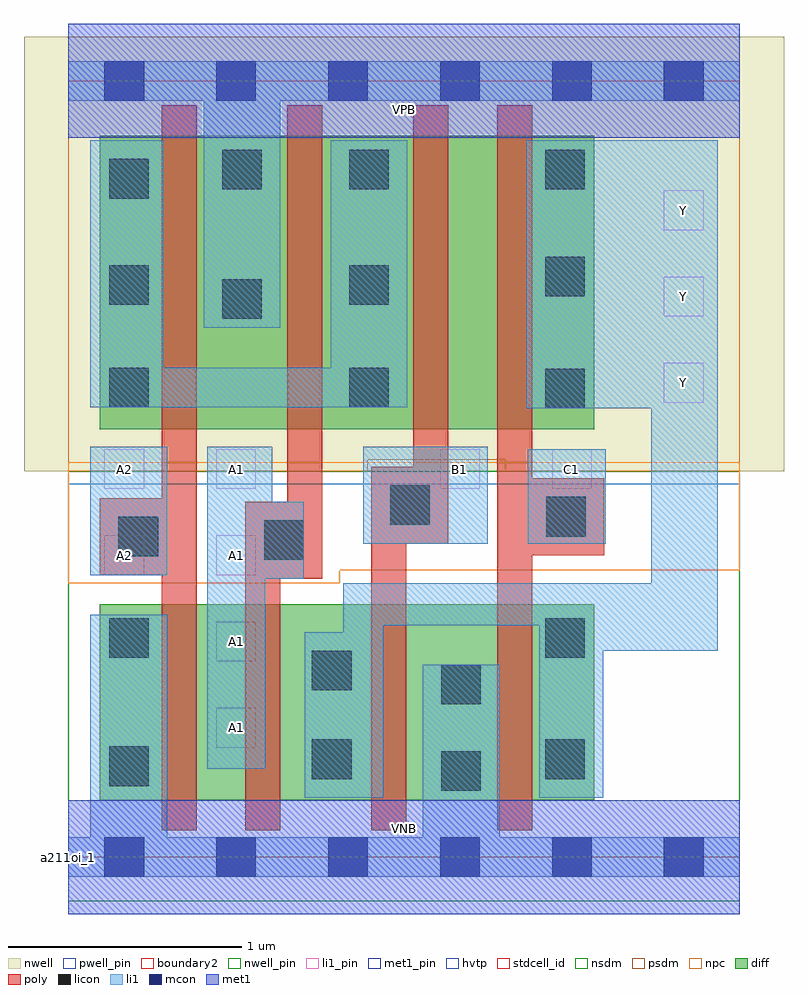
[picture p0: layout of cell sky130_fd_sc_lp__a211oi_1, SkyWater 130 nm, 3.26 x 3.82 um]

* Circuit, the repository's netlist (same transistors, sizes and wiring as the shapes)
* Copyright 2020 The SkyWater PDK Authors
*
* Licensed under the Apache License, Version 2.0 (the "License");
* you may not use this file except in compliance with the License.
* You may obtain a copy of the License at
*
*     https://www.apache.org/licenses/LICENSE-2.0
*
* Unless required by applicable law or agreed to in writing, software
* distributed under the License is distributed on an "AS IS" BASIS,
* WITHOUT WARRANTIES OR CONDITIONS OF ANY KIND, either express or implied.
* See the License for the specific language governing permissions and
* limitations under the License.
*
* SPDX-License-Identifier: Apache-2.0

.SUBCKT sky130_fd_sc_lp__a211oi_1 A1 A2 B1 C1 VGND VNB VPB VPWR Y
*.PININFO A1:I A2:I B1:I C1:I VGND:I VNB:I VPB:I VPWR:I Y:O
MMPA0 pndA A1 VPWR VPB sky130_fd_pr__pfet_01v8_hvt m=1 w=1.26U l=0.15U mult=1 sa=0.265
+ sb=0.265 sd=0.28 area=0.063 perim=1.14
MMPA1 pndA A2 VPWR VPB sky130_fd_pr__pfet_01v8_hvt m=1 w=1.26U l=0.15U mult=1 sa=0.265
+ sb=0.265 sd=0.28 area=0.063 perim=1.14
MMPB0 pndB B1 pndA VPB sky130_fd_pr__pfet_01v8_hvt m=1 w=1.26U l=0.15U mult=1 sa=0.265
+ sb=0.265 sd=0.28 area=0.063 perim=1.14
MMPC0 Y C1 pndB VPB sky130_fd_pr__pfet_01v8_hvt m=1 w=1.26U l=0.15U mult=1 sa=0.265
+ sb=0.265 sd=0.28 area=0.063 perim=1.14
MMNA0 Y A1 sndA1 VNB sky130_fd_pr__nfet_01v8 m=1 w=0.84U l=0.15U mult=1 sa=0.265
+ sb=0.265 sd=0.28 area=0.063 perim=1.14
MMNA1 sndA1 A2 VGND VNB sky130_fd_pr__nfet_01v8 m=1 w=0.84U l=0.15U mult=1 sa=0.265
+ sb=0.265 sd=0.28 area=0.063 perim=1.14
MMNB0 Y B1 VGND VNB sky130_fd_pr__nfet_01v8 m=1 w=0.84U l=0.15U mult=1 sa=0.265
+ sb=0.265 sd=0.28 area=0.063 perim=1.14
MMNC0 Y C1 VGND VNB sky130_fd_pr__nfet_01v8 m=1 w=0.84U l=0.15U mult=1 sa=0.265
+ sb=0.265 sd=0.28 area=0.063 perim=1.14
.ENDS sky130_fd_sc_lp__a211oi_1

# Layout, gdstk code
import gdstk
lib = gdstk.Library(unit=1e-6, precision=1e-09)
def R(c, l, rs):  # rectangles x0, y0, x1, y1
    for r in rs: c.add(gdstk.rectangle(r[:2], r[2:], *l))
def A(c, l, x, y, w, h, nx, ny, dx, dy):  # array of equal rectangles
    R(c, l, [(x+i*dx, y+j*dy, x+i*dx+w, y+j*dy+h) for i in range(nx) for j in range(ny)])
def P(c, l, *ps):  # polygons
    for p in ps: c.add(gdstk.Polygon(p, *l))
nwell_pin = (64, 16)
nwell = (64, 20)
diff = (65, 20)
poly = (66, 20)
licon = (66, 44)
li1_pin = (67, 16)
li1 = (67, 20)
mcon = (67, 44)
met1_pin = (68, 16)
met1 = (68, 20)
hvtp = (78, 44)
stdcell_id = (81, 4)
nsdm = (93, 44)
psdm = (94, 20)
npc = (95, 20)
pwell_pin = (122, 16)
boundary2 = (236, 0)

sky130_fd_sc_lp__a211oi_ = lib.new_cell('sky130_fd_sc_lp__a211oi_1')
R(sky130_fd_sc_lp__a211oi_, nwell_pin, [(0,3.085,2.88,3.33)])
R(sky130_fd_sc_lp__a211oi_, nwell, [(-0.19,1.655,3.07,3.52)])
R(sky130_fd_sc_lp__a211oi_, diff, [(0.135,0.245,2.255,1.085), (0.135,1.835,2.255,3.095)])
P(sky130_fd_sc_lp__a211oi_, poly, [(0.55,3.225),(0.4,3.225),(0.4,1.54),(0.135,1.54),(0.135,1.21),(0.4,1.21),(0.4,0.115),(0.55,0.115)],
  [(1.09,3.225),(0.94,3.225),(0.94,1.525),(0.76,1.525),(0.76,0.115),(0.91,0.115),(0.91,1.195),(1.09,1.195)],
  [(1.63,3.225),(1.48,3.225),(1.48,1.675),(1.3,1.675),(1.3,0.115),(1.45,0.115),(1.45,1.345),(1.63,1.345)],
  [(2.3,1.625),(1.99,1.625),(1.99,3.225),(1.84,3.225),(1.84,0.115),(1.99,0.115),(1.99,1.295),(2.3,1.295)])
R(sky130_fd_sc_lp__a211oi_, licon, [(1.6,0.285,1.77,0.455), (0.175,0.305,0.345,0.475), (1.045,0.335,1.215,0.505), (2.045,0.335,2.215,0.505), (1.6,0.655,1.77,0.825), (1.045,0.715,1.215,0.885), (0.175,0.855,0.345,1.025), (2.045,0.855,2.215,1.025), (0.84,1.275,1.01,1.445), (0.215,1.29,0.385,1.46), (2.05,1.375,2.22,1.545), (1.38,1.425,1.55,1.595), (2.045,1.925,2.215,2.095), (0.175,1.93,0.345,2.1), (1.205,1.93,1.375,2.1), (0.66,2.31,0.83,2.48), (0.175,2.37,0.345,2.54), (1.205,2.37,1.375,2.54), (2.045,2.405,2.215,2.575), (0.175,2.825,0.345,2.995), (0.66,2.865,0.83,3.035), (1.205,2.865,1.375,3.035), (2.045,2.865,2.215,3.035)])
A(sky130_fd_sc_lp__a211oi_, li1_pin, 0.635, 0.47, 0.17, 0.17, 1, 4, 0, 0.37)
A(sky130_fd_sc_lp__a211oi_, li1_pin, 2.555, 1.95, 0.17, 0.17, 1, 3, 0, 0.37)
R(sky130_fd_sc_lp__a211oi_, li1_pin, [(0.155,1.21,0.325,1.38), (0.155,1.58,0.325,1.75), (1.595,1.58,1.765,1.75), (2.075,1.58,2.245,1.75)])
R(sky130_fd_sc_lp__a211oi_, li1, [(0.095,1.21,0.425,1.76), (1.265,1.345,1.8,1.76), (1.97,1.345,2.305,1.75)])
P(sky130_fd_sc_lp__a211oi_, li1, [(0.58,2.27),(0.58,3.245),(0,3.245),(0,3.415),(2.88,3.415),(2.88,3.245),(0.91,3.245),(0.91,2.27)],
  [(0.095,0.085),(0.095,1.04),(0.425,1.04),(0.425,0.085),(1.52,0.085),(1.52,0.825),(1.85,0.825),(1.85,0.085),(2.88,0.085),(2.88,-0.085),(0,-0.085),(0,0.085)],
  [(1.01,1.525),(0.875,1.525),(0.875,1.76),(0.595,1.76),(0.595,0.38),(0.845,0.38),(0.845,1.195),(1.01,1.195)],
  [(2.785,3.075),(1.965,3.075),(1.965,1.925),(2.5,1.925),(2.5,1.175),(1.18,1.175),(1.18,0.965),(1.015,0.965),(1.015,0.255),(1.35,0.255),(1.35,0.995),(2.02,0.995),(2.02,0.255),(2.295,0.255),(2.295,0.885),(2.785,0.885)],
  [(0.41,2.1),(1.125,2.1),(1.125,3.075),(1.455,3.075),(1.455,1.93),(0.095,1.93),(0.095,3.075),(0.41,3.075)])
A(sky130_fd_sc_lp__a211oi_, mcon, 0.155, -0.085, 0.17, 0.17, 6, 2, 0.48, 3.33)
R(sky130_fd_sc_lp__a211oi_, met1_pin, [(0,0,2.88,0.245), (0,3.085,2.88,3.33)])
R(sky130_fd_sc_lp__a211oi_, met1, [(0,-0.245,2.88,0.245), (0,3.085,2.88,3.575)])
R(sky130_fd_sc_lp__a211oi_, hvtp, [(0,1.6,2.88,3.33)])
R(sky130_fd_sc_lp__a211oi_, stdcell_id, [(0,0,2.88,3.33)])
R(sky130_fd_sc_lp__a211oi_, nsdm, [(0,-0.19,2.88,1.655)])
P(sky130_fd_sc_lp__a211oi_, psdm, [(2.88,3.52),(0,3.52),(0,1.655),(1.285,1.655),(1.285,1.705),(1.875,1.705),(1.875,1.655),(2.88,1.655)])
P(sky130_fd_sc_lp__a211oi_, npc, [(2.88,1.695),(0,1.695),(0,1.175),(1.165,1.175),(1.165,1.23),(2.88,1.23)])
R(sky130_fd_sc_lp__a211oi_, pwell_pin, [(0,0,2.88,0.245)])
R(sky130_fd_sc_lp__a211oi_, boundary2, [(0,0,2.88,3.33)])
sky130_fd_sc_lp__a211oi_.add(gdstk.Label('VNB', (1.44,0.123), layer=64, texttype=59))
sky130_fd_sc_lp__a211oi_.add(gdstk.Label('VPB', (1.44,3.208), layer=64, texttype=5))
sky130_fd_sc_lp__a211oi_.add(gdstk.Label('a211oi_1', (0,0), layer=83, texttype=44))
sky130_fd_sc_lp__a211oi_.add(gdstk.Label('VPWR', (1.44,3.208), layer=68, texttype=5))
sky130_fd_sc_lp__a211oi_.add(gdstk.Label('VGND', (1.44,0.123), layer=68, texttype=5))
sky130_fd_sc_lp__a211oi_.add(gdstk.Label('A1', (0.72,0.555), layer=67, texttype=5))
sky130_fd_sc_lp__a211oi_.add(gdstk.Label('A1', (0.72,0.925), layer=67, texttype=5))
sky130_fd_sc_lp__a211oi_.add(gdstk.Label('A1', (0.72,1.295), layer=67, texttype=5))
sky130_fd_sc_lp__a211oi_.add(gdstk.Label('A1', (0.72,1.665), layer=67, texttype=5))
sky130_fd_sc_lp__a211oi_.add(gdstk.Label('Y', (2.64,2.035), layer=67, texttype=5))
sky130_fd_sc_lp__a211oi_.add(gdstk.Label('Y', (2.64,2.405), layer=67, texttype=5))
sky130_fd_sc_lp__a211oi_.add(gdstk.Label('Y', (2.64,2.775), layer=67, texttype=5))
sky130_fd_sc_lp__a211oi_.add(gdstk.Label('A2', (0.24,1.295), layer=67, texttype=5))
sky130_fd_sc_lp__a211oi_.add(gdstk.Label('A2', (0.24,1.665), layer=67, texttype=5))
sky130_fd_sc_lp__a211oi_.add(gdstk.Label('B1', (1.68,1.665), layer=67, texttype=5))
sky130_fd_sc_lp__a211oi_.add(gdstk.Label('C1', (2.16,1.665), layer=67, texttype=5))

lib.write_gds('sky130_fd_sc_lp__a211oi_1.gds')
